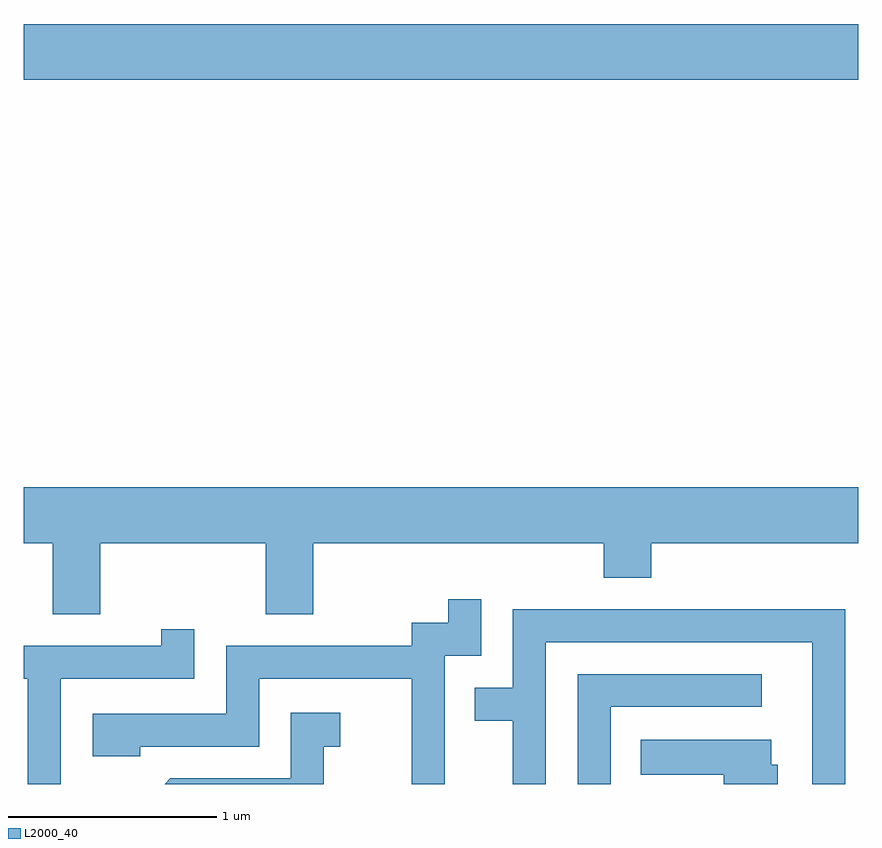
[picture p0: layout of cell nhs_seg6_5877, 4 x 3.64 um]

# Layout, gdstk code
import gdstk
lib = gdstk.Library(unit=1e-6, precision=1e-09)
def R(c, l, rs):  # rectangles x0, y0, x1, y1
    for r in rs: c.add(gdstk.rectangle(r[:2], r[2:], *l))
def P(c, l, *ps):  # polygons
    for p in ps: c.add(gdstk.Polygon(p, *l))
L2000_40 = (2000, 40)

nhs_seg6_5877 = lib.new_cell('nhs_seg6_5877')
R(nhs_seg6_5877, L2000_40, [(363.611,1605.536,367.611,1605.804)])
P(nhs_seg6_5877, L2000_40, [(363.979,1603.316),(364.771,1603.316),(364.771,1602.976),(364.999,1602.976),(364.999,1603.316),(366.391,1603.316),(366.391,1603.151),(366.619,1603.151),(366.619,1603.316),(367.611,1603.316),(367.611,1603.584),(363.611,1603.584),(363.611,1603.316),(363.751,1603.316),(363.751,1602.976),(363.979,1602.976)],
  [(365.629,1602.776),(365.804,1602.776),(365.804,1603.048),(365.646,1603.048),(365.646,1602.934),(365.471,1602.934),(365.471,1602.824),(364.581,1602.824),(364.581,1602.499),(363.941,1602.499),(363.941,1602.296),(364.169,1602.296),(364.169,1602.341),(364.739,1602.341),(364.739,1602.666),(365.471,1602.666),(365.471,1602.162),(365.629,1602.162)],
  [(366.114,1602.841),(367.391,1602.841),(367.391,1602.162),(367.549,1602.162),(367.549,1602.999),(365.956,1602.999),(365.956,1602.624),(365.773,1602.624),(365.773,1602.466),(365.956,1602.466),(365.956,1602.162),(366.114,1602.162)],
  [(363.789,1602.666),(364.429,1602.666),(364.429,1602.903),(364.271,1602.903),(364.271,1602.824),(363.611,1602.824),(363.611,1602.666),(363.631,1602.666),(363.631,1602.162),(363.789,1602.162)],
  [(366.424,1602.531),(367.148,1602.531),(367.148,1602.689),(366.266,1602.689),(366.266,1602.162),(366.424,1602.162)],
  [(365.049,1602.341),(365.128,1602.341),(365.128,1602.504),(364.891,1602.504),(364.891,1602.189),(364.314,1602.189),(364.287,1602.162),(365.049,1602.162)],
  [(367.224,1602.254),(367.194,1602.254),(367.194,1602.374),(366.568,1602.374),(366.568,1602.206),(366.966,1602.206),(366.966,1602.162),(367.224,1602.162)])

lib.write_gds('nhs_seg6_5877.gds')
